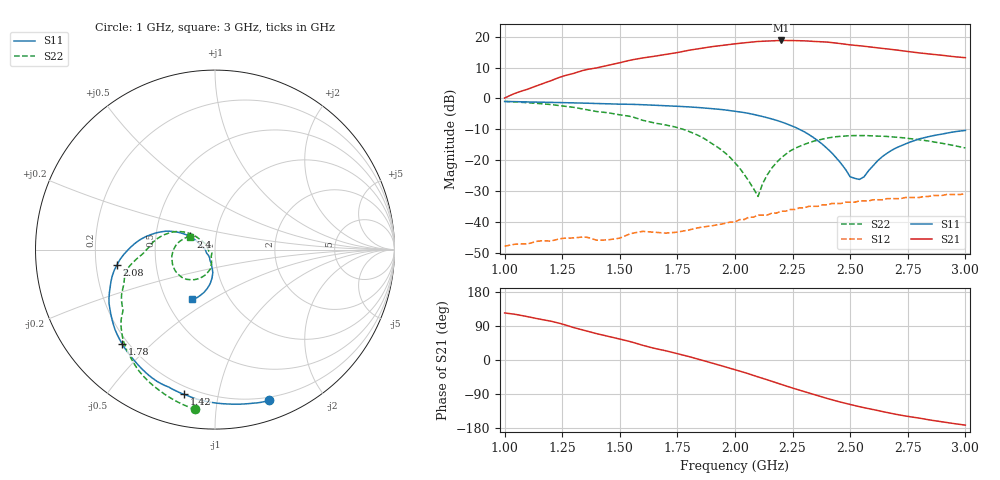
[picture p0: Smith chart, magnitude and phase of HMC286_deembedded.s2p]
!Hittite Microwave Corporation
!12 Elizabeth Drive
!Chelmsford Massachusetts 01824
!Tel: 978 250-3343
!Fax: 978 250-3373
!Device: HMC286, 2.3-2.5 GHz, Low Noise Amplifier
!Misc: Room Temp  Vdd=+3V Idd= 7.5 mA , DEEMBEDDED TO THE PINS OF THE DEVICE
# MHZ S MA R 50
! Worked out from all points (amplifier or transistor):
!   101 points, 1 GHz to 3 GHz, reference 50 ohm
!   highest |S21| = 18.8 dB at 2.2 GHz (marker M1)
!   |S21| within 3 dB of that: 1.814 GHz to 2.691 GHz (876.6 MHz wide, 38.9 % of centre)
!   unconditionally stable (mu >= 1): start of sweep to end of sweep
!   at 1.32 GHz: K = 4.27, MAG = 17.5 dB, |S12| = -45.0 dB
!   at 2 GHz: K = 4.00, MAG = 19.9 dB, |S12| = -40.0 dB
!   at 3 GHz: K = 3.37, MAG = 13.8 dB, |S12| = -30.8 dB
!   S11 on the Smith chart (normalised r, x): 1 GHz: 0.17, -1.41; 1.42 GHz: 0.16, -0.80; 1.78 GHz: 0.18, -0.41; 2.08 GHz: 0.29, -0.07; 2.4 GHz: 0.75, +0.11; 3 GHz: 0.68, -0.41
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1000  0.893 -70.2  1.016 124.2  0.004079 70.3  0.897 -97.0
1200  0.864 -84.8  1.93 102.5  0.004932 48.5  0.798 -122.1
1340  0.841 -95.9  2.837 79.1  0.005747 27.8  0.675 -140.9
1420  0.825 -102.2  3.25 66.6  0.005113 20.7  0.603 -149.2
1560  0.802 -113.8  4.262 46.0  0.006671 13.3  0.497 -168.0
1680  0.768 -124.9  5.022 26.8  0.006723 -10.0  0.384 -179.5
1780  0.737 -134.7  5.823 12.1  0.007223 -18.5  0.312 166.6
1840  0.714 -141.2  6.357 2.3  0.008084 -26.4  0.253 157.0
1900  0.684 -147.9  6.886 -8.1  0.008719 -36.2  0.186 149.0
2000  0.62 -160.4  7.654 -25.7  0.01 -53.0  0.091 145.6
2080  0.552 -171.3  8.219 -40.6  0.012 -65.2  0.035 -165.7
2100  0.531 -174.2  8.357 -44.6  0.013 -69.5  0.026 -131.4
2140  0.488 -179.4  8.488 -52.3  0.013 -77.5  0.058 -109.8
2200  0.419 172.2  8.677 -64.3  0.015 -87.4  0.109 -103.2
2280  0.316 161.7  8.591 -79.5  0.017 -101.6  0.168 -115.0
2340  0.234 155.2  8.387 -90.6  0.018 -112.2  0.203 -124.4
2400  0.155 151.8  8.172 -101.4  0.019 -121.9  0.229 -133.6
2460  0.089 160.8  7.7 -111.4  0.02 -131.1  0.244 -143.3
2540  0.049 -137.8  7.124 -123.1  0.022 -142.0  0.251 -155.7
2680  0.145 -95.7  6.21 -141.0  0.024 -157.9  0.239 -174.1
2840  0.241 -103.7  5.257 -157.6  0.026 -172.5  0.205 167.9
3000  0.304 -114.4  4.565 -171.9  0.029 174.5  0.158 153.0
